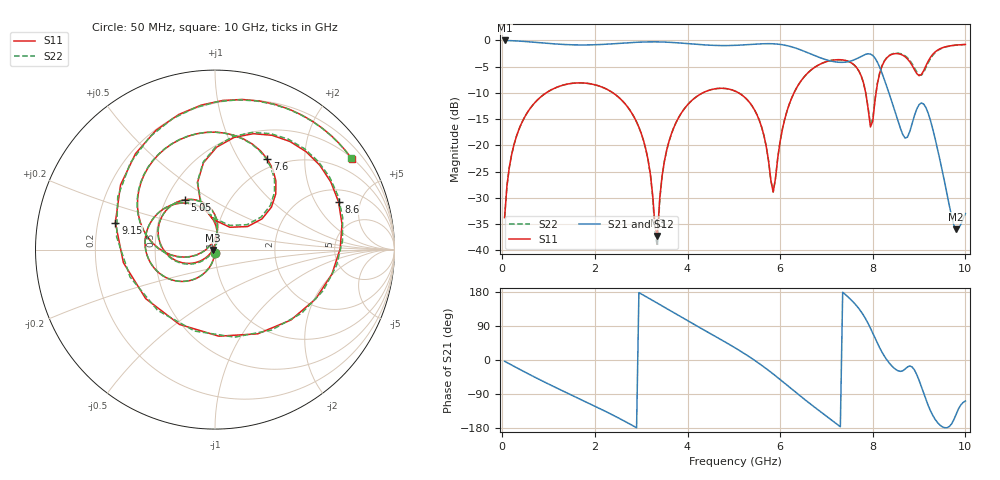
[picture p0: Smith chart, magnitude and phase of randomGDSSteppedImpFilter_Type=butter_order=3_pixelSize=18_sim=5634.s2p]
! freq	dB(S11)	phase(S11)	dB(S12)	phase(S12)
!  dB(S21)	phase(S21)	dB(S22)	phase(S22)
!S-par simulation data
#  GHz  S  DB  R 50
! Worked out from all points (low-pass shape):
!   200 points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, 50 MHz to 10 GHz, reference 50 ohm
!   highest |S21| = -0.01 dB at 50 MHz (marker M1); lowest = -36.0 dB at 9.8 GHz (marker M2)
!   |S21| within 3 dB of the highest: start of sweep to 6.779 GHz; 7.758 GHz to 8.013 GHz (254.8 MHz wide, 3.23 % of centre)
!   lowest |S11| = -37.2 dB at 3.35 GHz (marker M3), VSWR 1.03, Z = 48.7 - j0.262 ohm
!   |S11| at or under -10 dB: start of sweep to 947.6 MHz; 2.389 GHz to 4.329 GHz (1.941 GHz wide, 57.8 % of centre); 5.103 GHz to 6.299 GHz (1.196 GHz wide, 21 % of centre) (the widest 3 of 4)
!   |S22| runs from -39.2 to -0.8 dB; largest |S21 - S12| = 0
!   S11 on the Smith chart (normalised r, x): 50 MHz: 1.00, -0.04; 5.05 GHz: 0.62, +0.38; 7.6 GHz: 0.88, +1.34; 8.6 GHz: 2.70, +3.17; 9.15 GHz: 0.27, +0.12; 10 GHz: 0.52, +3.23
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0.05  -33.80 -93.2  -0.01 -3.3  -0.01 -3.3  -33.80 -93.2
0.5  -14.35 -123.1  -0.21 -32.6  -0.21 -32.6  -14.35 -123.2
1.75  -8.11 162.6  -0.87 -107.2  -0.87 -107.2  -8.11 162.3
2.9  -15.55 93.4  -0.35 -178.8  -0.35 -178.8  -15.56 92.0
3.15  -22.87 80.6  -0.28 164.0  -0.28 164.0  -22.92 77.0
3.35  -37.23 -168.7  -0.27 149.8  -0.27 149.8  -39.24 -153.2
3.4  -30.11 -141.6  -0.28 146.3  -0.28 146.3  -30.41 -132.9
3.9  -13.40 -161.7  -0.53 110.8  -0.53 110.8  -13.41 -160.4
5.05  -9.75 121.4  -0.93 30.4  -0.93 30.4  -9.76 121.9
5.55  -15.24 87.4  -0.66 -9.5  -0.66 -9.5  -15.24 87.9
5.85  -28.90 140.6  -0.64 -37.0  -0.64 -37.0  -28.92 141.1
6.15  -13.41 -169.7  -1.00 -66.6  -1.00 -66.6  -13.41 -169.2
6.7  -5.42 142.5  -2.72 -120.5  -2.72 -120.5  -5.42 143.0
7.6  -4.70 59.9  -3.69 150.1  -3.69 150.1  -4.69 60.9
7.95  -16.50 56.4  -2.60 83.9  -2.60 83.9  -16.04 58.6
8.35  -2.95 63.4  -10.04 -7.0  -10.04 -7.0  -2.89 64.3
8.6  -2.64 21.2  -16.84 -30.0  -16.84 -30.0  -2.52 23.6
8.95  -6.32 -87.4  -13.08 -38.5  -13.08 -38.5  -6.02 -77.4
9.15  -4.80 164.9  -12.84 -105.4  -12.84 -105.4  -5.15 172.7
9.4  -1.84 95.4  -20.78 -165.3  -20.78 -165.3  -1.94 97.7
9.8  -0.89 48.3  -36.00 -143.1  -36.00 -143.1  -0.90 48.8
10  -0.77 33.6  -33.01 -108.1  -33.01 -108.1  -0.78 33.9
